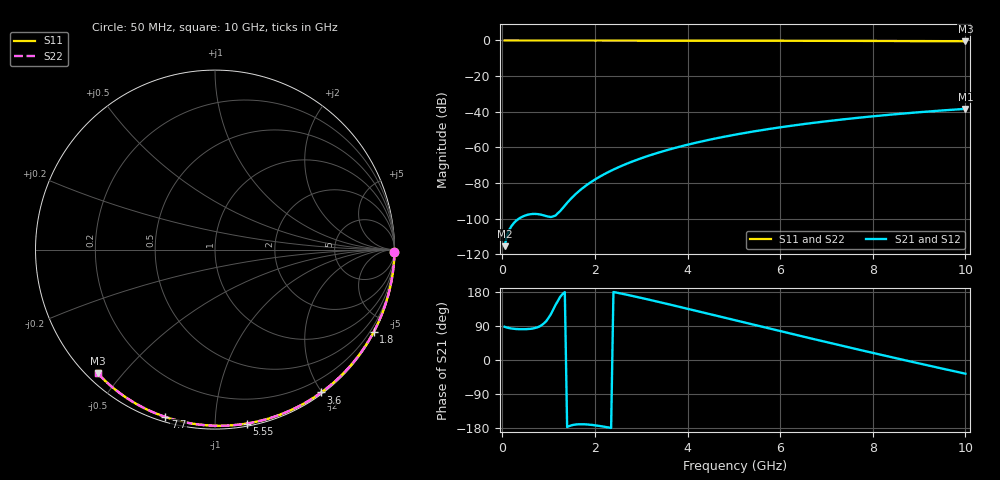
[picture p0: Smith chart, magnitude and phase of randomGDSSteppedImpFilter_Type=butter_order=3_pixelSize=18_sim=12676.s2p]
! freq	dB(S11)	phase(S11)	dB(S12)	phase(S12)
!  dB(S21)	phase(S21)	dB(S22)	phase(S22)
!S-par simulation data
#  GHz  S  DB  R 50
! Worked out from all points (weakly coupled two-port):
!   200 points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, 50 MHz to 10 GHz, reference 50 ohm
!   highest |S21| = -38.41 dB at 10 GHz (marker M1); lowest = -115.5 dB at 50 MHz (marker M2)
!   lowest |S11| = -0.4 dB at 10 GHz (marker M3), VSWR 38.81, Z = 1.53 - j21.5 ohm
!   |S11| at or under -10 dB: nowhere
!   |S22| runs from -0.4 to 0.0 dB; largest |S21 - S12| = 0
!   S11 on the Smith chart (normalised r, x): 50 MHz: open; 1.8 GHz: 0.04, -4.12; 3.6 GHz: 0.02, -1.99; 5.55 GHz: 0.02, -1.20; 7.7 GHz: 0.02, -0.75; 10 GHz: 0.03, -0.43
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0.05  -0.00 -0.8  -115.52 87.7  -115.52 87.7  -0.00 -0.8
0.45  -0.01 -6.9  -98.75 81.2  -98.75 81.2  -0.01 -6.9
0.9  -0.02 -13.8  -98.28 96.8  -98.28 96.8  -0.02 -13.8
1.75  -0.03 -26.6  -82.61 -169.6  -82.61 -169.6  -0.03 -26.6
1.8  -0.03 -27.3  -81.62 -169.9  -81.62 -169.9  -0.03 -27.3
1.9  -0.04 -28.8  -79.80 -170.8  -79.80 -170.8  -0.04 -28.8
2.05  -0.04 -31.0  -77.32 -173.1  -77.32 -173.1  -0.04 -31.0
2.25  -0.04 -34.0  -74.43 -177.1  -74.43 -177.1  -0.04 -34.0
2.45  -0.05 -36.9  -71.88 178.3  -71.88 178.3  -0.05 -36.9
2.65  -0.05 -39.8  -69.61 173.3  -69.61 173.3  -0.05 -39.8
3  -0.06 -44.9  -66.15 163.9  -66.15 163.9  -0.06 -44.9
3.4  -0.07 -50.6  -62.77 152.6  -62.77 152.6  -0.07 -50.6
3.6  -0.07 -53.4  -61.26 146.9  -61.26 146.9  -0.07 -53.4
4.3  -0.09 -63.1  -56.73 126.4  -56.73 126.4  -0.09 -63.1
5.05  -0.11 -73.2  -52.80 104.2  -52.80 104.2  -0.11 -73.2
5.55  -0.13 -79.7  -50.57 89.5  -50.57 89.5  -0.13 -79.7
6.1  -0.15 -86.8  -48.41 73.4  -48.41 73.4  -0.15 -86.8
6.7  -0.18 -94.3  -46.32 55.9  -46.32 55.9  -0.18 -94.3
7.7  -0.24 -106.5  -43.37 27.2  -43.37 27.2  -0.24 -106.5
8.35  -0.29 -114.2  -41.74 8.9  -41.74 8.9  -0.29 -114.2
9.15  -0.36 -123.6  -39.99 -13.2  -39.99 -13.2  -0.36 -123.6
10  -0.45 -133.4  -38.41 -36.1  -38.41 -36.1  -0.45 -133.4
